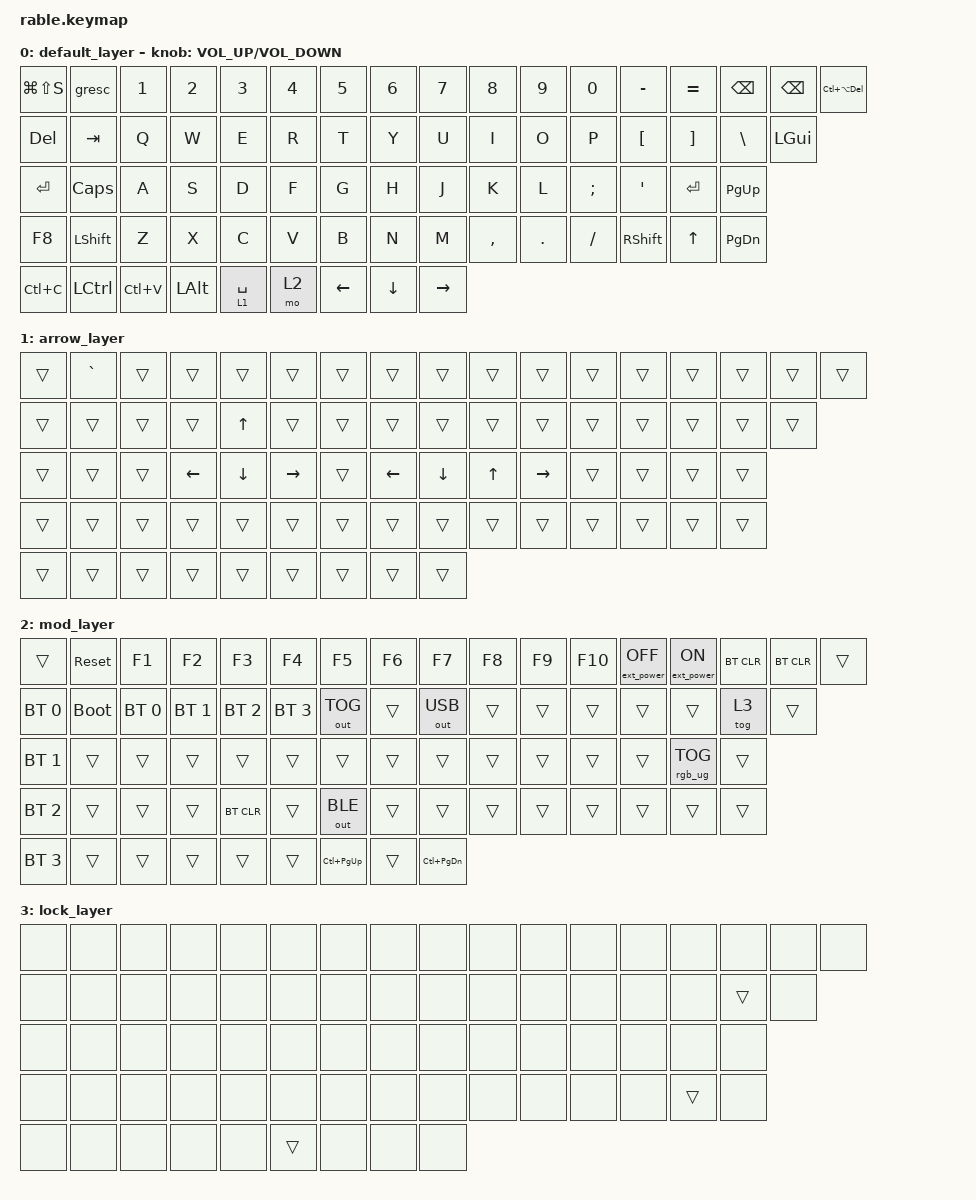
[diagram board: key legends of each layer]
/*
 * Copyright (c) 2021 Nick Winans
 *
 * SPDX-License-Identifier: MIT
 */

#include <behaviors.dtsi>
#include <dt-bindings/zmk/bt.h>
#include <dt-bindings/zmk/ext_power.h>
#include <dt-bindings/zmk/keys.h>
#include <dt-bindings/zmk/outputs.h>
#include <dt-bindings/zmk/rgb.h>

/ {
    keymap {
        compatible = "zmk,keymap";

        default_layer {
            bindings = <
&kp LG(LS(S))  &gresc     &kp N1     &kp N2        &kp N3       &kp N4  &kp N5    &kp N6    &kp N7     &kp N8     &kp N9   &kp N0    &kp MINUS  &kp EQUAL  &kp BACKSPACE  &kp BACKSPACE  &kp LC(LA(DEL))
&kp DELETE     &kp TAB    &kp Q      &kp W         &kp E        &kp R   &kp T     &kp Y     &kp U      &kp I      &kp O    &kp P     &kp LBKT   &kp RBKT   &kp BACKSLASH  &kp LEFT_GUI
&kp ENTER      &kp CLCK   &kp A      &kp S         &kp D        &kp F   &kp G     &kp H     &kp J      &kp K      &kp L    &kp SEMI  &kp SQT    &kp RET    &kp PG_UP
&kp F8         &kp LSHFT  &kp Z      &kp X         &kp C        &kp V   &kp B     &kp N     &kp M      &kp COMMA  &kp DOT  &kp FSLH  &kp RSHFT  &kp UP     &kp PG_DN
&kp LC(C)      &kp LCTRL  &kp LC(V)  &kp LEFT_ALT  &lt 1 SPACE  &mo 2   &kp LEFT  &kp DOWN  &kp RIGHT
            >;

            sensor-bindings = <&inc_dec_kp C_VOLUME_UP C_VOLUME_DOWN>;
        };

        arrow_layer {
            bindings = <
&trans  &kp GRAVE  &trans  &trans    &trans    &trans     &trans  &trans    &trans    &trans  &trans     &trans  &trans  &trans  &trans  &trans  &trans
&trans  &trans     &trans  &trans    &kp UP    &trans     &trans  &trans    &trans    &trans  &trans     &trans  &trans  &trans  &trans  &trans
&trans  &trans     &trans  &kp LEFT  &kp DOWN  &kp RIGHT  &trans  &kp LEFT  &kp DOWN  &kp UP  &kp RIGHT  &trans  &trans  &trans  &trans
&trans  &trans     &trans  &trans    &trans    &trans     &trans  &trans    &trans    &trans  &trans     &trans  &trans  &trans  &trans
&trans  &trans     &trans  &trans    &trans    &trans     &trans  &trans    &trans
            >;
        };

        mod_layer {
            bindings = <
&trans        &sys_reset   &kp F1        &kp F2        &kp F3        &kp F4        &kp F5           &kp F6  &kp F7             &kp F8  &kp F9  &kp F10  &ext_power EP_OFF  &ext_power EP_ON  &bt BT_CLR  &bt BT_CLR  &trans
&bt BT_SEL 0  &bootloader  &bt BT_SEL 0  &bt BT_SEL 1  &bt BT_SEL 2  &bt BT_SEL 3  &out OUT_TOG     &trans  &out OUT_USB       &trans  &trans  &trans   &trans             &trans            &tog 3      &trans
&bt BT_SEL 1  &trans       &trans        &trans        &trans        &trans        &trans           &trans  &trans             &trans  &trans  &trans   &trans             &rgb_ug RGB_TOG   &trans
&bt BT_SEL 2  &trans       &trans        &trans        &bt BT_CLR    &trans        &out OUT_BLE     &trans  &trans             &trans  &trans  &trans   &trans             &trans            &trans
&bt BT_SEL 3  &trans       &trans        &trans        &trans        &trans        &kp LC(PAGE_UP)  &trans  &kp LC(PAGE_DOWN)
            >;
        };

        lock_layer {
            bindings = <
&none  &none  &none  &none  &none  &none   &none  &none  &none  &none  &none  &none  &none  &none   &none   &none  &none
&none  &none  &none  &none  &none  &none   &none  &none  &none  &none  &none  &none  &none  &none   &trans  &none
&none  &none  &none  &none  &none  &none   &none  &none  &none  &none  &none  &none  &none  &none   &none
&none  &none  &none  &none  &none  &none   &none  &none  &none  &none  &none  &none  &none  &trans  &none
&none  &none  &none  &none  &none  &trans  &none  &none  &none
            >;
        };
    };
};
